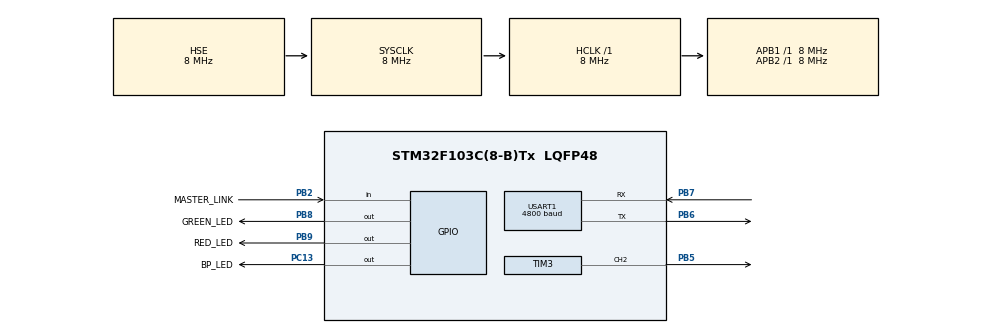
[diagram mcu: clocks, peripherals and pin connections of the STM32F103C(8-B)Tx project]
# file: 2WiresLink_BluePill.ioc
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Mcu.Family=STM32F1
Mcu.Name=STM32F103C(8-B)Tx
Mcu.Package=LQFP48
NVIC.PriorityGroup=NVIC_PRIORITYGROUP_4
NVIC.TIM3_IRQn=true\:0\:0\:false\:false\:true\:true\:true
NVIC.USART1_IRQn=true\:0\:0\:false\:false\:true\:true\:true
PA13.Mode=Serial_Wire
PA13.Signal=SYS_JTMS-SWDIO
PA14.Mode=Serial_Wire
PA14.Signal=SYS_JTCK-SWCLK
PB2.GPIO_Label=MASTER_LINK
PB2.GPIO_PuPd=GPIO_NOPULL
PB2.Signal=GPIO_Input
PB5.Signal=S_TIM3_CH2
PB6.Mode=Asynchronous
PB6.Signal=USART1_TX
PB7.Mode=Asynchronous
PB7.Signal=USART1_RX
PB8.GPIO_Label=GREEN_LED
PB8.Signal=GPIO_Output
PB9.GPIO_Label=RED_LED
PB9.Signal=GPIO_Output
PC13-TAMPER-RTC.GPIO_Label=BP_LED
PC13-TAMPER-RTC.GPIO_ModeDefaultOutputPP=GPIO_MODE_OUTPUT_PP
PC13-TAMPER-RTC.GPIO_PuPd=GPIO_NOPULL
PC13-TAMPER-RTC.PinState=GPIO_PIN_SET
PC13-TAMPER-RTC.Signal=GPIO_Output
PD0-OSC_IN.Mode=HSE-External-Oscillator
PD0-OSC_IN.Signal=RCC_OSC_IN
PD1-OSC_OUT.Mode=HSE-External-Oscillator
PD1-OSC_OUT.Signal=RCC_OSC_OUT
ProjectManager.HeapSize=0x200
ProjectManager.StackSize=0x400
ProjectManager.TargetToolchain=Makefile
RCC.AHBFreq_Value=8000000
RCC.APB1Freq_Value=8000000
RCC.APB1TimFreq_Value=8000000
RCC.APB2Freq_Value=8000000
RCC.APB2TimFreq_Value=8000000
RCC.HCLKFreq_Value=8000000
RCC.PLLSourceVirtual=RCC_PLLSOURCE_HSE
RCC.SYSCLKFreq_VALUE=8000000
RCC.SYSCLKSource=RCC_SYSCLKSOURCE_HSE
RCC.USBFreq_Value=16000000
SH.S_TIM3_CH2.0=TIM3_CH2,PWM Generation2 CH2
TIM3.Channel-PWM\ Generation2\ CH2=TIM_CHANNEL_2
TIM3.Period=79
USART1.BaudRate=4800
USART1.VirtualMode=VM_ASYNC
board=custom

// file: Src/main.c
/* USER CODE BEGIN Header */
/**
  ******************************************************************************
  * @file           : main.c
  * @brief          : Main program body
  ******************************************************************************
  * @attention
  *
  * <h2><center>&copy; Copyright (c) 2019 STMicroelectronics.
  * All rights reserved.</center></h2>
  *
  * This software component is licensed by ST under BSD 3-Clause license,
  * the "License"; You may not use this file except in compliance with the
  * License. You may obtain a copy of the License at:
  *                        opensource.org/licenses/BSD-3-Clause
  *
  ******************************************************************************
  */
/* USER CODE END Header */

#include "main.h"

/* USER CODE BEGIN Includes */
#include "usart.h"
/* USER CODE END Includes */

TIM_HandleTypeDef htim3;

UART_HandleTypeDef huart1;

void SystemClock_Config(void);
static void MX_GPIO_Init(void);
static void MX_TIM3_Init(void);
static void MX_USART1_UART_Init(void);

/* USER CODE BEGIN 0 */

struct pkt {
	uint32_t seq;
};

struct ctx {
	struct pkt pkt;
	uint32_t seq;
	uint32_t seq_inited;
};

static int handle_request(void *ctx_, uint8_t rx_len,
			  void **tx_buf_out, uint8_t *tx_len_out)
{
	struct ctx *ctx = ctx_;

	if (rx_len != sizeof(ctx->pkt))
		/* Wrong length */
		return -1;

	if (ctx->seq_inited) {
		int correct_seq = (ctx->seq + 1 == ctx->pkt.seq);

		if (!correct_seq) {
			ctx->seq_inited = 0;
			return -1;
		}
	}
	ctx->seq = ctx->pkt.seq;
	ctx->seq_inited = 1;

	*tx_buf_out = (uint8_t *)&ctx->pkt;
	*tx_len_out = sizeof(ctx->pkt);

	return 0;
}

static int handle_response(void *ctx_, uint8_t rx_len)
{
	struct ctx *ctx = ctx_;

	if (rx_len != sizeof(ctx->pkt))
		/* Wrong length */
		return -1;

	return (ctx->seq == ctx->pkt.seq ? 0 : -1);
}

/* USER CODE END 0 */

int main(void)
{
  /* USER CODE BEGIN 1 */
  struct ctx ctx = {
	  .seq = 0,
  };
  /* USER CODE END 1 */

  /* MCU Configuration--------------------------------------------------------*/

  /* Reset of all peripherals, Initializes the Flash interface and the Systick. */
  HAL_Init();

  /* Configure the system clock */
  SystemClock_Config();

  /* Initialize all configured peripherals */
  MX_GPIO_Init();
  MX_TIM3_Init();
  MX_USART1_UART_Init();
  /* USER CODE BEGIN 2 */
  USART_Init(&huart1, &htim3, TIM_CHANNEL_2);
  /* USER CODE END 2 */

  /* Infinite loop */
  /* USER CODE BEGIN WHILE */
  while (1) {
	  uint16_t led;
	  int ret;

	  HAL_GPIO_TogglePin(GPIOC, BP_LED_Pin);

	  if (HAL_GPIO_ReadPin(GPIOB, MASTER_LINK_Pin)) {
		  /* Master */
		  ctx.pkt.seq = ++ctx.seq;

		  ret = USART_SendRecvSync(&ctx.pkt, sizeof(ctx.pkt), /* tx */
					   &ctx.pkt, sizeof(ctx.pkt), /* rx */
					   REPEAT_TX_REQS_x5);
		  if (ret >= 0)
			  ret = handle_response(&ctx, ret);
	  } else {
		  /* Slave */

		  ret = USART_RecvSendSync(&ctx,
					   &ctx.pkt, sizeof(ctx.pkt), /* rx */
					   handle_request);
	  }

	  led = (!ret ? GREEN_LED_Pin : RED_LED_Pin);
	  HAL_GPIO_WritePin(GPIOB, led, GPIO_PIN_SET);
	  HAL_Delay(10);
	  HAL_GPIO_WritePin(GPIOB, led, GPIO_PIN_RESET);
	  HAL_Delay(10);

	  USART_Process();
  }
    /* USER CODE END WHILE */

}

void SystemClock_Config(void)
{
  RCC_OscInitTypeDef RCC_OscInitStruct = {0};
  RCC_ClkInitTypeDef RCC_ClkInitStruct = {0};

  /** Initializes the CPU, AHB and APB busses clocks
  */
  RCC_OscInitStruct.OscillatorType = RCC_OSCILLATORTYPE_HSE;
  RCC_OscInitStruct.HSEState = RCC_HSE_ON;
  RCC_OscInitStruct.PLL.PLLState = RCC_PLL_NONE;
  if (HAL_RCC_OscConfig(&RCC_OscInitStruct) != HAL_OK)
  {
    Error_Handler();
  }
  /** Initializes the CPU, AHB and APB busses clocks
  */
  RCC_ClkInitStruct.ClockType = RCC_CLOCKTYPE_HCLK|RCC_CLOCKTYPE_SYSCLK
                              |RCC_CLOCKTYPE_PCLK1|RCC_CLOCKTYPE_PCLK2;
  RCC_ClkInitStruct.SYSCLKSource = RCC_SYSCLKSOURCE_HSE;
  RCC_ClkInitStruct.AHBCLKDivider = RCC_SYSCLK_DIV1;
  RCC_ClkInitStruct.APB1CLKDivider = RCC_HCLK_DIV1;
  RCC_ClkInitStruct.APB2CLKDivider = RCC_HCLK_DIV1;

  if (HAL_RCC_ClockConfig(&RCC_ClkInitStruct, FLASH_LATENCY_0) != HAL_OK)
  {
    Error_Handler();
  }
}

static void MX_TIM3_Init(void)
{

  TIM_MasterConfigTypeDef sMasterConfig = {0};
  TIM_OC_InitTypeDef sConfigOC = {0};

  htim3.Instance = TIM3;
  htim3.Init.Prescaler = 0;
  htim3.Init.CounterMode = TIM_COUNTERMODE_UP;
  htim3.Init.Period = 79;
  htim3.Init.ClockDivision = TIM_CLOCKDIVISION_DIV1;
  htim3.Init.AutoReloadPreload = TIM_AUTORELOAD_PRELOAD_DISABLE;
  if (HAL_TIM_PWM_Init(&htim3) != HAL_OK)
  {
    Error_Handler();
  }
  sMasterConfig.MasterOutputTrigger = TIM_TRGO_RESET;
  sMasterConfig.MasterSlaveMode = TIM_MASTERSLAVEMODE_DISABLE;
  if (HAL_TIMEx_MasterConfigSynchronization(&htim3, &sMasterConfig) != HAL_OK)
  {
    Error_Handler();
  }
  sConfigOC.OCMode = TIM_OCMODE_PWM1;
  sConfigOC.Pulse = 0;
  sConfigOC.OCPolarity = TIM_OCPOLARITY_HIGH;
  sConfigOC.OCFastMode = TIM_OCFAST_DISABLE;
  if (HAL_TIM_PWM_ConfigChannel(&htim3, &sConfigOC, TIM_CHANNEL_2) != HAL_OK)
  {
    Error_Handler();
  }
  HAL_TIM_MspPostInit(&htim3);

}

static void MX_USART1_UART_Init(void)
{

  huart1.Instance = USART1;
  huart1.Init.BaudRate = 4800;
  huart1.Init.WordLength = UART_WORDLENGTH_8B;
  huart1.Init.StopBits = UART_STOPBITS_1;
  huart1.Init.Parity = UART_PARITY_NONE;
  huart1.Init.Mode = UART_MODE_TX_RX;
  huart1.Init.HwFlowCtl = UART_HWCONTROL_NONE;
  huart1.Init.OverSampling = UART_OVERSAMPLING_16;
  if (HAL_UART_Init(&huart1) != HAL_OK)
  {
    Error_Handler();
  }

}

static void MX_GPIO_Init(void)
{
  GPIO_InitTypeDef GPIO_InitStruct = {0};

  /* GPIO Ports Clock Enable */
  __HAL_RCC_GPIOC_CLK_ENABLE();
  __HAL_RCC_GPIOD_CLK_ENABLE();
  __HAL_RCC_GPIOB_CLK_ENABLE();
  __HAL_RCC_GPIOA_CLK_ENABLE();

  /*Configure GPIO pin Output Level */
  HAL_GPIO_WritePin(BP_LED_GPIO_Port, BP_LED_Pin, GPIO_PIN_SET);

  /*Configure GPIO pin Output Level */
  HAL_GPIO_WritePin(GPIOB, GREEN_LED_Pin|RED_LED_Pin, GPIO_PIN_RESET);

  /*Configure GPIO pin : BP_LED_Pin */
  GPIO_InitStruct.Pin = BP_LED_Pin;
  GPIO_InitStruct.Mode = GPIO_MODE_OUTPUT_PP;
  GPIO_InitStruct.Pull = GPIO_NOPULL;
  GPIO_InitStruct.Speed = GPIO_SPEED_FREQ_LOW;
  HAL_GPIO_Init(BP_LED_GPIO_Port, &GPIO_InitStruct);

  /*Configure GPIO pin : MASTER_LINK_Pin */
  GPIO_InitStruct.Pin = MASTER_LINK_Pin;
  GPIO_InitStruct.Mode = GPIO_MODE_INPUT;
  GPIO_InitStruct.Pull = GPIO_NOPULL;
  HAL_GPIO_Init(MASTER_LINK_GPIO_Port, &GPIO_InitStruct);

  /*Configure GPIO pins : GREEN_LED_Pin RED_LED_Pin */
  GPIO_InitStruct.Pin = GREEN_LED_Pin|RED_LED_Pin;
  GPIO_InitStruct.Mode = GPIO_MODE_OUTPUT_PP;
  GPIO_InitStruct.Pull = GPIO_NOPULL;
  GPIO_InitStruct.Speed = GPIO_SPEED_FREQ_LOW;
  HAL_GPIO_Init(GPIOB, &GPIO_InitStruct);

}

void Error_Handler(void)
{
}

/************************ (C) COPYRIGHT STMicroelectronics *****END OF FILE****/
